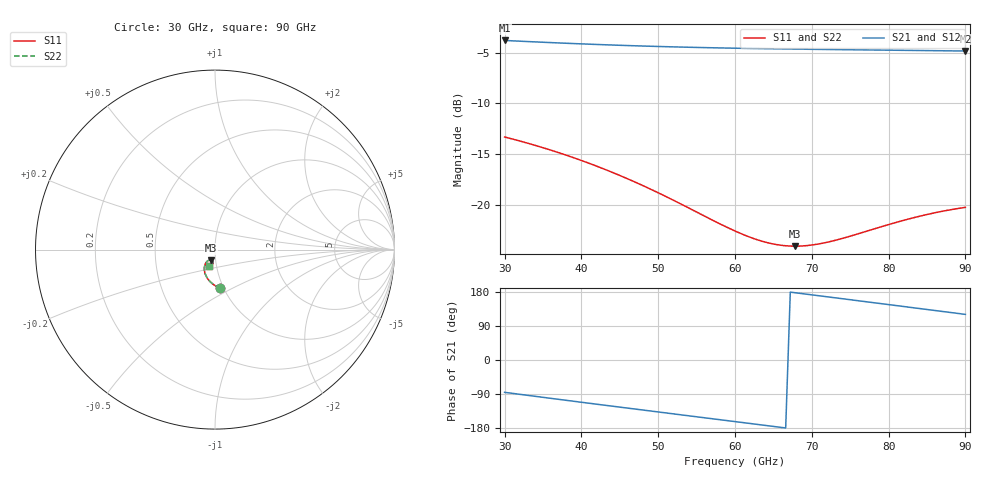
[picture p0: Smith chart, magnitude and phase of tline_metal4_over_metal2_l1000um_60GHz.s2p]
#  GHZ S DB R 50
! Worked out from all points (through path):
!   101 points, 30 GHz to 90 GHz, reference 50 ohm
!   highest |S21| = -3.79 dB at 30 GHz (marker M1); lowest = -4.8 dB at 90 GHz (marker M2)
!   group delay of S21, straight-line fit = 7.12 ps
!   lowest |S11| = -24.1 dB at 67.8 GHz (marker M3), VSWR 1.13, Z = 47.7 - j5.64 ohm
!   |S11| at or under -10 dB: start of sweep to end of sweep
!   |S22| runs from -24.2 to -13.3 dB; largest |S21 - S12| = 6.9e-14
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30  -13.32 -82.3  -3.79 -85.3  -3.79 -85.3  -13.35 -82.2
32.4  -13.80 -88.2  -3.88 -91.7  -3.88 -91.7  -13.84 -88.1
34.8  -14.33 -93.8  -3.96 -98.0  -3.96 -98.0  -14.37 -93.7
37.2  -14.90 -99.1  -4.04 -104.2  -4.04 -104.2  -14.95 -99.1
40.2  -15.69 -105.4  -4.14 -112.0  -4.14 -112.0  -15.74 -105.4
45  -17.11 -114.1  -4.27 -124.3  -4.27 -124.3  -17.18 -114.1
48  -18.11 -118.6  -4.34 -132.0  -4.34 -132.0  -18.18 -118.6
50.4  -18.97 -121.4  -4.40 -138.1  -4.40 -138.1  -19.04 -121.4
55.2  -20.80 -124.3  -4.49 -150.3  -4.49 -150.3  -20.88 -124.4
57.6  -21.72 -124.1  -4.52 -156.4  -4.52 -156.4  -21.81 -124.1
60  -22.59 -122.4  -4.56 -162.5  -4.56 -162.5  -22.69 -122.5
62.4  -23.33 -119.4  -4.59 -168.6  -4.59 -168.6  -23.43 -119.5
64.2  -23.74 -116.3  -4.61 -173.2  -4.61 -173.2  -23.85 -116.5
66  -24.00 -112.8  -4.63 -177.8  -4.63 -177.8  -24.11 -113.0
67.8  -24.09 -109.2  -4.65 177.6  -4.65 177.6  -24.20 -109.4
70.2  -23.96 -104.8  -4.67 171.4  -4.67 171.4  -24.08 -105.0
72.6  -23.60 -101.4  -4.69 165.3  -4.69 165.3  -23.73 -101.7
75  -23.10 -99.3  -4.71 159.1  -4.71 159.1  -23.24 -99.6
77.4  -22.55 -98.5  -4.73 152.9  -4.73 152.9  -22.70 -98.9
80.4  -21.87 -99.1  -4.76 145.2  -4.76 145.2  -22.02 -99.6
85.2  -20.93 -102.8  -4.80 132.8  -4.80 132.8  -21.10 -103.3
90  -20.26 -108.5  -4.84 120.4  -4.84 120.4  -20.45 -109.1
